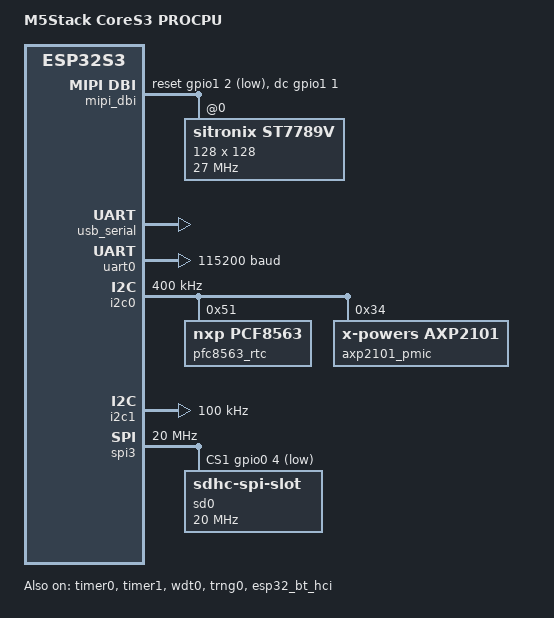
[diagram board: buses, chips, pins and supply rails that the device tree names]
/*
 * Copyright (c) 2024 Espressif Systems (Shanghai) Co., Ltd.
 *
 * SPDX-License-Identifier: Apache-2.0
 */
/dts-v1/;

#include <espressif/esp32s3/esp32s3.dtsi>
#include "m5stack_cores3-pinctrl.dtsi"
#include "grove_connectors.dtsi"
#include "m5stack_mbus_connectors.dtsi"
#include <zephyr/dt-bindings/display/ili9xxx.h>
#include <zephyr/dt-bindings/regulator/axp192.h>
#include <zephyr/dt-bindings/input/input-event-codes.h>
#include <zephyr/dt-bindings/input/esp32-touch-sensor-input.h>
#include <zephyr/dt-bindings/mipi_dbi/mipi_dbi.h>

/ {
	model = "M5Stack CoreS3 PROCPU";
	compatible = "m5stack,cores3";

	aliases {
		uart-0 = &uart0;
		i2c-0 = &i2c0;
		watchdog0 = &wdt0;
		rtc = &pfc8563_rtc;
		sdhc0 = &sd0;
	};

	chosen {
		zephyr,sram = &sram0;
		zephyr,console = &usb_serial;
		zephyr,shell-uart = &usb_serial;
		zephyr,flash = &flash0;
		zephyr,display = &st7789v;
		zephyr,code-partition = &slot0_partition;
		zephyr,rtc = &pfc8563_rtc;
		zephyr,bt-hci = &esp32_bt_hci;
	};

	mipi_dbi {
		compatible = "zephyr,mipi-dbi-spi";
		spi-dev = <&spi2>;
		dc-gpios = <&gpio1 1 GPIO_ACTIVE_HIGH>;	     /* G33 */
		reset-gpios = <&gpio1 2 GPIO_ACTIVE_LOW>;    /* G34 */
		write-only;
		#address-cells = <1>;
		#size-cells = <0>;

		st7789v: st7789v@0 {
			compatible = "sitronix,st7789v";
			reg = <0>;
			mipi-max-frequency = <27000000>;

			width = <128>;
			height = <128>;
			x-offset = <2>;
			y-offset = <1>;

			vcom = <0x28>;
			gctrl = <0x35>;
			vrhs = <0x10>;
			vdvs = <0x20>;
			mdac = <0x00>;
			gamma = <0x01>;
			colmod = <0x55>;
			lcm = <0x0c>;
			porch-param = [0c 0c 00 33 33];
			cmd2en-param = [5a 69 02 00];
			pwctrl1-param = [a4 a1];
			pvgam-param = [d0 00 02 07 0a 28 32 44 42 06 0e 12 14 17];
			nvgam-param = [d0 00 02 07 0a 28 31 54 47 0e 1c 17 1b 1e];
			ram-param = [00 E0];
			rgb-param = [40 02 14];
			mipi-mode = <MIPI_DBI_MODE_SPI_4WIRE>;
		};
	};
};

&psram0 {
	reg = <0x3c000000 DT_SIZE_M(8)>;
	status = "okay";
};

&usb_serial {
	status = "okay";
};

&uart0 {
	status = "okay";
	current-speed = <115200>;
	pinctrl-0 = <&uart0_default>;
	pinctrl-names = "default";
};

&gpio0 {
	status = "okay";
};

&gpio1 {
	status = "okay";
};

&i2c0 {
	status = "okay";
	clock-frequency = <I2C_BITRATE_FAST>;
	pinctrl-0 = <&i2c0_default>;
	pinctrl-names = "default";

	pfc8563_rtc: pfc8563@51 {
		compatible = "nxp,pcf8563";
		reg = <0x51>;
		status = "okay";
	};

	axp2101_pmic: axp2101@34 {
		compatible = "x-powers,axp2101";
		reg = <0x34>;
		status = "okay";

		axp2101_led: axp2101_led {
			compatible = "x-powers,axp2101-led";
			status = "okay";
			x-powers,mode = "by-reg";
		};
	};
};

&i2c1 {
	status = "okay";
	clock-frequency = <I2C_BITRATE_STANDARD>;
	pinctrl-0 = <&i2c1_default>;
	pinctrl-names = "default";
};

&spi3 {
	#address-cells = <1>;
	#size-cells = <0>;
	status = "okay";
	pinctrl-0 = <&spim3_default>;
	pinctrl-names = "default";
	clock-frequency = <20000000>;
	cs-gpios = <&gpio0 5 GPIO_ACTIVE_LOW>,
			   <&gpio0 4 GPIO_ACTIVE_LOW>;

	sd0: sd@1 {
		compatible = "zephyr,sdhc-spi-slot";
		reg = <1>;
		status = "okay";
		spi-max-frequency = <20000000>;
		mmc {
			compatible = "zephyr,sdmmc-disk";
			status = "okay";
		};

	};
};


&timer0 {
	status = "okay";
};

&timer1 {
	status = "okay";
};

&wdt0 {
	status = "okay";
};

&trng0 {
	status = "okay";
};

&flash0 {
	status = "okay";
	reg = <0 DT_SIZE_M(16)>;

	partitions {
		compatible = "fixed-partitions";
		#address-cells = <1>;
		#size-cells = <1>;

		/* Reserve 60kB for the bootloader */
		boot_partition: partition@0 {
			label = "mcuboot";
			reg = <0x00000000 0x0000F000>;
			read-only;
		};

		/* Reserve 1024kB for the application in slot 0 */
		slot0_partition: partition@10000 {
			label = "image-0";
			reg = <0x00010000 0x00100000>;
		};

		/* Reserve 1024kB for the application in slot 1 */
		slot1_partition: partition@110000 {
			label = "image-1";
			reg = <0x00110000 0x00100000>;
		};

		/* Reserve 256kB for the scratch partition */
		scratch_partition: partition@210000 {
			label = "image-scratch";
			reg = <0x00210000 0x00040000>;
		};

		/* 14MB storage */
		storage_partition: partition@250000 {
			label = "storage";
			reg = <0x00250000 0x00006000>;
		};
	};
};

&esp32_bt_hci {
	status = "okay";
};
